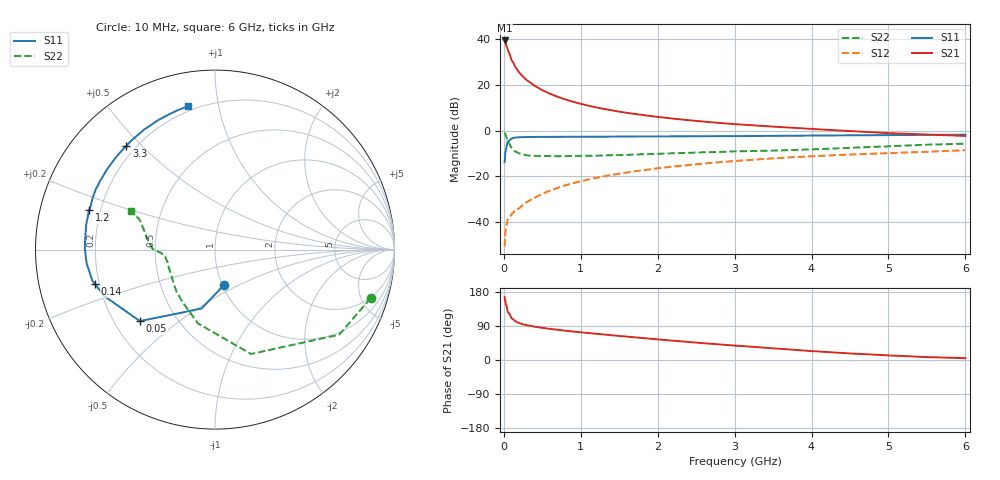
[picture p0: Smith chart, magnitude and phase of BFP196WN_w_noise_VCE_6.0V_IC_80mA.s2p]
! Infineon Technologies  Discrete & RF Semiconductors
! BFP196WN
! VCE =  6.0 V,  IC =  80 mA
! Common Emitter S-Parameters:  Jan 2017
# GHz  S  MA  R  50
!  f  S11  S21  S12  S22
! GHz  MAG  ANG  MAG  ANG  MAG  ANG  MAG  ANG
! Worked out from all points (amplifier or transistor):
!   77 points, 10 MHz to 6 GHz, reference 50 ohm
!   highest |S21| = 39.6 dB at 10 MHz (marker M1)
!   |S21| within 3 dB of that: start of sweep to 39.88 MHz
!   unconditionally stable (mu >= 1): 515.3 MHz to 2.606 GHz
!   at 130 MHz: K = 0.65, MSG = 32.5 dB, |S12| = -35.7 dB
!   at 2.2 GHz: K = 1.02, MAG = 9.7 dB, |S12| = -15.8 dB
!   at 6 GHz: K = 0.91, MSG = 3.1 dB, |S12| = -8.6 dB
!   lowest NFmin = 1.58 dB at 450 MHz
!   S11 on the Smith chart (normalised r, x): 10 MHz: 1.02, -0.42; 50 MHz: 0.31, -0.37; 140 MHz: 0.18, -0.14; 1.2 GHz: 0.16, +0.15; 3.3 GHz: 0.16, +0.45; 6 GHz: 0.17, +0.82
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0.01  0.2027 -75.3  95.06 166.2  0.0029 79.8  0.908 -17.4
0.02  0.3368 -102.9  85.69 152.7  0.0059 74.2  0.8386 -34.4
0.05  0.5777 -136.4  60.41 127.3  0.011 55.0  0.6151 -71.0
0.1  0.6681 -157.1  35.51 109.9  0.0144 51.8  0.4222 -102.9
0.14  0.6965 -164.1  26.91 104.2  0.0172 54.5  0.3578 -116.9
0.15  0.7051 -165.7  24.82 102.1  0.0179 55.0  0.3458 -121.1
0.2  0.7115 -170.6  18.84 97.4  0.0197 57.9  0.3161 -132.9
0.25  0.7193 -173.9  15.19 94.1  0.0237 60.8  0.2992 -140.1
0.3  0.7207 -176.6  12.72 91.7  0.0269 64.0  0.2865 -146.4
0.4  0.7249 179.6  9.614 87.8  0.0335 67.9  0.2789 -153.7
0.5  0.7257 176.6  7.7 84.8  0.0408 69.1  0.2766 -158.8
0.7  0.7275 171.9  5.505 79.8  0.0551 71.2  0.2734 -165.2
0.9  0.7312 167.7  4.282 75.1  0.0699 70.9  0.277 -168.6
1.1  0.7336 164.3  3.517 71.2  0.0844 70.4  0.2791 -171.4
1.2  0.7344 162.5  3.229 69.1  0.0916 70.0  0.2802 -172.2
1.6  0.7407 156.0  2.45 61.7  0.1203 67.9  0.292 -175.0
2.1  0.7459 148.1  1.912 52.7  0.1553 64.1  0.3133 -177.6
3.1  0.7572 133.4  1.351 36.7  0.2206 55.6  0.3522 178.0
3.3  0.7605 130.5  1.284 33.8  0.233 53.9  0.3574 176.6
4.1  0.7783 119.1  1.064 22.3  0.278 47.0  0.3918 168.6
5.1  0.7964 108.4  0.866 11.2  0.324 39.3  0.4588 158.0
6  0.8136 100.6  0.761 4.8  0.3711 33.1  0.5155 155.6
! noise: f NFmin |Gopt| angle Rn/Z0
0.45  1.58  0.58  -175  0.05
0.9  1.71  0.59  -168  0.07
1.9  2.67  0.7  -146  0.21
2.4  3.48  0.71  -138  0.35
